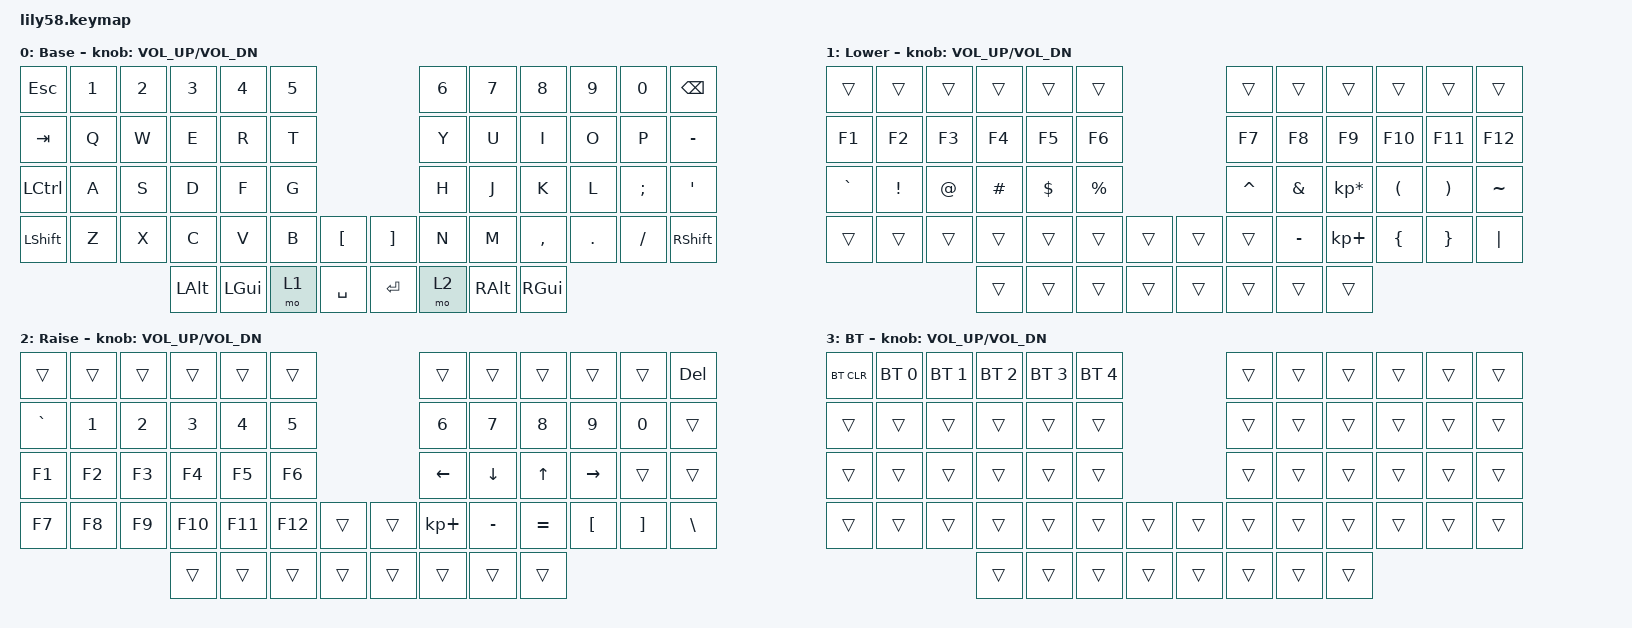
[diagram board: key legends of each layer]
/*
 * Copyright (c) 2020 The ZMK Contributors
 *
 * SPDX-License-Identifier: MIT
 */

#include <behaviors.dtsi>
#include <dt-bindings/zmk/keys.h>
#include <dt-bindings/zmk/bt.h>
#include <dt-bindings/zmk/ext_power.h>

/ {
	conditional_layers {
		compatible = "zmk,conditional-layers";

		tri_layer {
			if-layers = <1 2>;
			then-layer = <3>;
		};
	};

    keymap {
        compatible = "zmk,keymap";

        default_layer {
// ------------------------------------------------------------------------------------------------------------
// |  ESC  |  1  |  2  |  3   |  4   |  5   |                   |  6   |  7    |  8    |  9   |   0   |   BSPC   |
// |  TAB  |  Q  |  W  |  E   |  R   |  T   |                   |  Y   |  U    |  I    |  O   |   P   |   -   |
// |  CTRL |  A  |  S  |  D   |  F   |  G   |                   |  H   |  J    |  K    |  L   |   ;   |   '   |
// | SHIFT |  Z  |  X  |  C   |  V   |  B   |   "["  |  |  "]"  |  N   |  M    |  ,    |  .   |   /   | SHIFT |
//                     | ALT  | GUI  | LOWER|  SPACE |  | ENTER | RAISE| BSPC  | GUI   |
            display-name = "Base";
            bindings = <
&kp ESC   &kp N1 &kp N2 &kp N3   &kp N4   &kp N5                     &kp N6 &kp N7   &kp N8    &kp N9  &kp N0   &kp BSPC
&kp TAB   &kp Q  &kp W  &kp E    &kp R    &kp T                      &kp Y  &kp U    &kp I     &kp O   &kp P    &kp MINUS
&kp LCTRL &kp A  &kp S  &kp D    &kp F    &kp G                      &kp H  &kp J    &kp K     &kp L   &kp SEMI &kp SQT
&kp LSHFT &kp Z  &kp X  &kp C    &kp V    &kp B  &kp LBKT   &kp RBKT &kp N  &kp M    &kp COMMA &kp DOT &kp FSLH &kp RSHFT
                        &kp LALT &kp LGUI &mo 1  &kp SPACE  &kp RET  &mo 2  &kp RALT &kp RGUI
            >;

            sensor-bindings = <&inc_dec_kp C_VOL_UP C_VOL_DN>;
        };

        lower_layer {
// ------------------------------------------------------------------------------------------------------------
// | BTCLR | BT1 | BT2 |  BT3 |  BT4 |  BT5 |                   |      |       |       |      |       |       |
// |  F1   |  F2 |  F3 |  F4  |  F5  |  F6  |                   |  F7  |  F8   |  F9   |  F10 |  F11  |  F12  |
// |   `   |  !  |  @  |  #   |  $   |  %   |                   |  ^   |  &    |  *    |  (   |   )   |   ~   |
// |       |     |     |      |      |      |        |  |       |      |  _    |  +    |  {   |   }   |  "|"  |
//                     |      |      |      |        |  |       |      |       |       |
            display-name = "Lower";
            bindings = <
&trans     &trans           &trans            &trans            &trans       &trans                       &trans    &trans    &trans   &trans    &trans    &trans
&kp F1     &kp F2           &kp F3            &kp F4            &kp F5       &kp F6                       &kp F7    &kp F8    &kp F9          &kp F10   &kp F11   &kp F12
&kp GRAVE  &kp EXCL         &kp AT            &kp HASH          &kp DOLLAR   &kp PRCNT                    &kp CARET &kp AMPS  &kp KP_MULTIPLY &kp LPAR  &kp RPAR  &kp TILDE
&trans     &trans           &trans            &trans            &trans       &trans    &trans   &trans    &trans    &kp MINUS &kp KP_PLUS     &kp LBRC  &kp RBRC  &kp PIPE
                                              &trans            &trans       &trans    &trans   &trans    &trans    &trans    &trans
            >;

            sensor-bindings = <&inc_dec_kp C_VOL_UP C_VOL_DN>;
        };

        raise_layer {
// ------------------------------------------------------------------------------------------------------------
// |       |     |     |      |      |      |                   |      |       |       |      |       |       |
// |   `   |  1  |  2  |  3   |  4   |  5   |                   |  6   |   7   |   8   |  9   |   0   |       |
// |   F1  |  F2 |  F3 |  F4  |  F5  |  F6  |                   |      |   <-  |   v   |  ^   |  ->   |       |
// |   F7  |  F8 |  F9 |  F10 |  F11 |  F12 |        |  |       |  +   |   -   |   =   |  [   |   ]   |   \   |
//                     |      |      |      |        |  |       |      |       |       |
            display-name = "Raise";
            bindings = <
&trans    &trans &trans &trans  &trans  &trans                       &trans      &trans    &trans    &trans   &trans    &kp DEL
&kp GRAVE &kp N1 &kp N2 &kp N3  &kp N4  &kp N5                       &kp N6      &kp N7    &kp N8    &kp N9   &kp N0    &trans
&kp F1    &kp F2 &kp F3 &kp F4  &kp F5  &kp F6                       &kp LEFT    &kp DOWN  &kp UP    &kp RIGHT &trans   &trans
&kp F7    &kp F8 &kp F9 &kp F10 &kp F11 &kp F12   &trans   &trans    &kp KP_PLUS &kp MINUS &kp EQUAL &kp LBKT &kp RBKT  &kp BSLH
                        &trans  &trans  &trans    &trans   &trans    &trans      &trans    &trans
            >;

            sensor-bindings = <&inc_dec_kp C_VOL_UP C_VOL_DN>;
        };

		tri_layer {
		display-name = "BT";
		bindings = <
			
&bt BT_CLR &bt BT_SEL 0  &bt BT_SEL 1   &bt BT_SEL 2   &bt BT_SEL 3 &bt BT_SEL 4                 &trans    &trans    &trans   &trans    &trans    &trans
&trans      &trans       &trans         &trans         &trans       &trans                       &trans    &trans    &trans   &trans    &trans    &trans
&trans      &trans       &trans         &trans         &trans       &trans                       &trans    &trans    &trans   &trans    &trans    &trans
&trans      &trans       &trans         &trans         &trans       &trans                       &trans  &trans  &trans    &trans    &trans   &trans    &trans    &trans
                                                          &trans &trans  &trans  &trans  &trans  &trans    &trans    &trans
			>;

            sensor-bindings = <&inc_dec_kp C_VOL_UP C_VOL_DN>;
		};
    };
};
